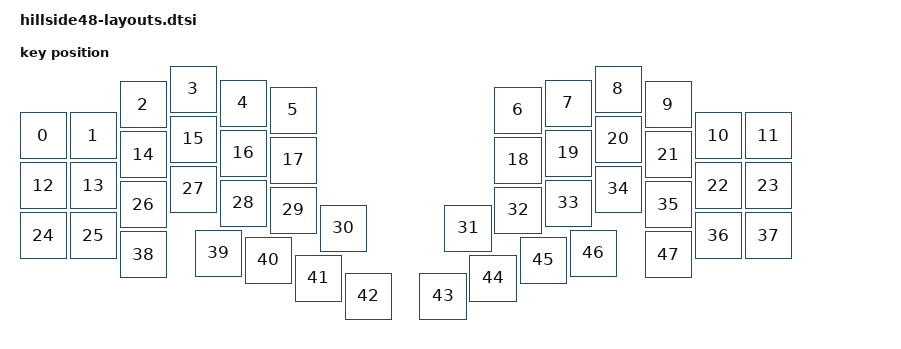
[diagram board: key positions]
#include <physical_layouts.dtsi>

/ {
    physical_layout0: physical_layout_0 {
        compatible = "zmk,physical-layout";
        display-name = "Hillside 48";
        kscan = <&kscan0>;
        transform = <&default_transform>;
        keys  //                     w   h    x    y     rot   rx   ry
            = <&key_physical_attrs 100 100    0   93       0    0    0>
            , <&key_physical_attrs 100 100  100   93       0    0    0>
            , <&key_physical_attrs 100 100  200   31       0    0    0>
            , <&key_physical_attrs 100 100  300    0       0    0    0>
            , <&key_physical_attrs 100 100  400   28       0    0    0>
            , <&key_physical_attrs 100 100  500   42       0    0    0>
            , <&key_physical_attrs 100 100  950   42       0    0    0>
            , <&key_physical_attrs 100 100 1050   28       0    0    0>
            , <&key_physical_attrs 100 100 1150    0       0    0    0>
            , <&key_physical_attrs 100 100 1250   31       0    0    0>
            , <&key_physical_attrs 100 100 1350   93       0    0    0>
            , <&key_physical_attrs 100 100 1450   93       0    0    0>
            , <&key_physical_attrs 100 100    0  193       0    0    0>
            , <&key_physical_attrs 100 100  100  193       0    0    0>
            , <&key_physical_attrs 100 100  200  131       0    0    0>
            , <&key_physical_attrs 100 100  300  100       0    0    0>
            , <&key_physical_attrs 100 100  400  128       0    0    0>
            , <&key_physical_attrs 100 100  500  142       0    0    0>
            , <&key_physical_attrs 100 100  950  142       0    0    0>
            , <&key_physical_attrs 100 100 1050  128       0    0    0>
            , <&key_physical_attrs 100 100 1150  100       0    0    0>
            , <&key_physical_attrs 100 100 1250  131       0    0    0>
            , <&key_physical_attrs 100 100 1350  193       0    0    0>
            , <&key_physical_attrs 100 100 1450  193       0    0    0>
            , <&key_physical_attrs 100 100    0  293       0    0    0>
            , <&key_physical_attrs 100 100  100  293       0    0    0>
            , <&key_physical_attrs 100 100  200  231       0    0    0>
            , <&key_physical_attrs 100 100  300  200       0    0    0>
            , <&key_physical_attrs 100 100  400  228       0    0    0>
            , <&key_physical_attrs 100 100  500  242       0    0    0>
            , <&key_physical_attrs 100 100  600  278       0    0    0>
            , <&key_physical_attrs 100 100  850  278       0    0    0>
            , <&key_physical_attrs 100 100  950  242       0    0    0>
            , <&key_physical_attrs 100 100 1050  228       0    0    0>
            , <&key_physical_attrs 100 100 1150  200       0    0    0>
            , <&key_physical_attrs 100 100 1250  231       0    0    0>
            , <&key_physical_attrs 100 100 1350  293       0    0    0>
            , <&key_physical_attrs 100 100 1450  293       0    0    0>
            , <&key_physical_attrs 100 100  200  331       0    0    0>
            , <&key_physical_attrs 100 100  350  328       0    0    0>
            , <&key_physical_attrs 100 100  450  342       0    0    0>
            , <&key_physical_attrs 100 100  550  378       0    0    0>
            , <&key_physical_attrs 100 100  650  414       0    0    0>
            , <&key_physical_attrs 100 100  800  414       0    0    0>
            , <&key_physical_attrs 100 100  900  378       0    0    0>
            , <&key_physical_attrs 100 100 1000  342       0    0    0>
            , <&key_physical_attrs 100 100 1100  328       0    0    0>
            , <&key_physical_attrs 100 100 1250  331       0    0    0>
            ;
    };
};
